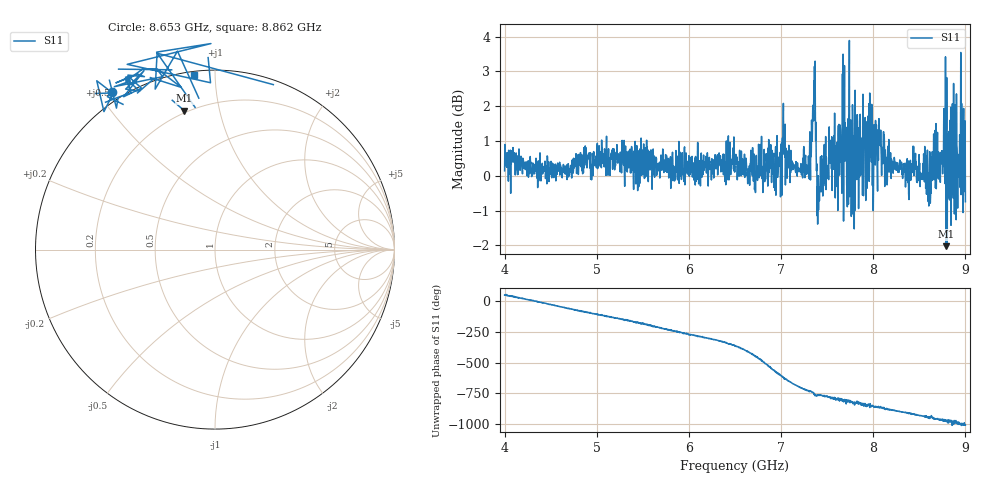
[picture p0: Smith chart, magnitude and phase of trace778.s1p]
! Created with skrf 1.8.0 (http://scikit-rf.org).
# Hz S RI R 50.0
!freq ReS11 ImS11
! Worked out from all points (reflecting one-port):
!   1601 points, 4 GHz to 9 GHz, reference 50 ohm
!   lowest |S11| = -2.0 dB at 8.791 GHz (marker M1), VSWR 8.62, Z = 9.46 + j39.3 ohm
!   phase of S11 starts at 48 deg and turns -1054 deg over the sweep
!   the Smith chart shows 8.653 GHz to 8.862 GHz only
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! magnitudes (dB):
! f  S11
! 4 GHz  0.1
! 4.625 GHz  -0.1
! 5.25 GHz  0.2
! 5.875 GHz  0.4
! 6.5 GHz  0.6
! 6.816 GHz  0.8
! 7.038 GHz  0.9
! 7.125 GHz  0.4
! 7.294 GHz  0.3
! 7.353 GHz  1.6
! 7.409 GHz  -0.4
! 7.556 GHz  1.0
! 7.609 GHz  1.0
! 7.647 GHz  1.0
! 7.75 GHz  0.3
! 7.775 GHz  2.0
! 7.828 GHz  1.6
! 7.859 GHz  1.8
! 7.962 GHz  2.4
! 7.981 GHz  0.4
! 8.375 GHz  0.1
! 8.441 GHz  0.0
! 8.616 GHz  0.6
! 8.656 GHz  1.2
! 8.791 GHz  -2.0
! 8.919 GHz  0.4
! 8.972 GHz  0.3
! 9 GHz  -0.7
